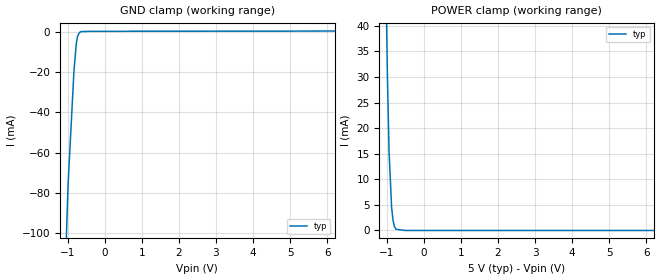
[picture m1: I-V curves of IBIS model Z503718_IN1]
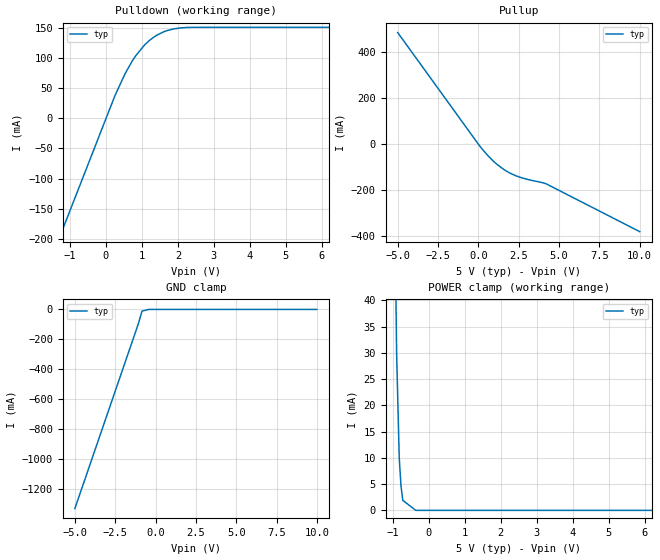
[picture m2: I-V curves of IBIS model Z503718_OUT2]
| YOU ARE ONLY AUTHORIZED TO USE THIS SOFTWARE
| ACCORDING TO LICENSOR'S LICENSE RESTRICTIONS.
[IBIS Ver] 3.1
[File Name] mc74ac10n_5.ibs
[File Rev] 2.0
[Source] Measured and created by ICX Technology
[Date] Friday 7/14/00 9:07:58 AM
[Copyright]
| (C) COPYRIGHT 1993-2000
| MENTOR GRAPHICS CORPORATION
| ICX STANDARD LIBRARY, ICX PROJECT MODELING,
| ICX CUSTOM MODELING, ICX VENDOR MODEL
| ALL RIGHTS RESERVED.
| THE FOLLOWING ARE TRADEMARKS OR SERVICE MARKS OF
| MENTOR GRAPHICS CORPORATION:ICX (R), ICX STANDARD
| LIBRARY(R), ICX PROJECT MODELING(R), ICX CUSTOM
| MODELING(R), qualityIBIS(TM), MODELVIEWER(TM),
| AND MODELEDITOR(TM)
| ALL COPIES OF SOFTWARE, INCLUDING BUT NOT LIMITED TO
| ANY MODIFICATIONS, ENHANCEMENTS OR DERIVATIVE WORKS,
| MUST CONTAIN ALL MENTOR GRAPHICS CORPORATION'S
| NOTICES AND LEGENDS, INCLUDING THOSE EMBEDDED IN
| SOFTWARE AND THOSE AFFIXED TO SOFTWARE MEDIUM
| AND CONTAINER, AS RECEIVED FROM MENTOR GRAPHICS
| CORPORATION.
|  ZAP Model Builder 2.7
[Component] MC74AC10N_5
[Manufacturer] OnSemiconductor
[Package]
| variable   typ   min   max
R_pkg  .21ohms NA NA
L_pkg  4.543nH NA NA
C_pkg  1.059pF NA NA
[Pin] signal_name  model_name  R_pin  L_pin C_pin
1 1A Z503718_IN1 .22 6.757n 1.432p
2 1B Z503718_IN1 .212 4.757n 1.142p
3 2A Z503718_IN1 .204 3.257n .852p
4 2B Z503718_IN1 .196 2.257n .562p
5 2C Z503718_IN1 .204 3.257n .852p
6 2Y Z503718_OUT2 .212 4.757n 1.142p
7 GND GND .22 6.757n 1.432p
8 3Y Z503718_OUT2 .22 6.757n 1.432p
9 3A Z503718_IN1 .212 4.757n 1.142p
10 3B Z503718_IN1 .204 3.257n .852p
11 3C Z503718_IN1 .196 2.257n .562p
12 1Y Z503718_OUT2 .204 3.257n .852p
13 1C Z503718_IN1 .212 4.757n 1.142p
14 VCC POWER .22 6.757n 1.432p
| Models and submodels in the file (2): Z503718_IN1 (Input), Z503718_OUT2 (Output)
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| (C) COPYRIGHT 1993-2000
| MENTOR GRAPHICS CORPORATION
| ICX STANDARD LIBRARY, ICX PROJECT MODELING,
| ICX CUSTOM MODELING, ICX VENDOR MODEL
| ALL RIGHTS RESERVED.
| THE FOLLOWING ARE TRADEMARKS OR SERVICE MARKS OF
| MENTOR GRAPHICS CORPORATION:ICX (R), ICX STANDARD
| LIBRARY(R), ICX PROJECT MODELING(R), ICX CUSTOM
| MODELING(R), qualityIBIS(TM), MODELVIEWER(TM),
| AND MODELEDITOR(TM)
| ALL COPIES OF SOFTWARE, INCLUDING BUT NOT LIMITED TO
| ANY MODIFICATIONS, ENHANCEMENTS OR DERIVATIVE WORKS,
| MUST CONTAIN ALL MENTOR GRAPHICS CORPORATION'S
| NOTICES AND LEGENDS, INCLUDING THOSE EMBEDDED IN
| SOFTWARE AND THOSE AFFIXED TO SOFTWARE MEDIUM
| AND CONTAINER, AS RECEIVED FROM MENTOR GRAPHICS
| CORPORATION.
| Model Application Version 1.89 2/18/99.
[Model] Z503718_IN1
Model_type Input
Vinl = 1.500V
Vinh = 3.500V
C_comp 4.000pF NA NA
| variable typ   min   max
[Voltage Range] 5.000V NA NA
[GND Clamp Reference] 0.000V NA NA
[POWER Clamp Reference] 5.000V NA NA
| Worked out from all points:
|   GND clamp passes 1 mA (typ) near -0.70 V on its own axis
|   POWER clamp passes 1 mA (typ) near -0.80 V on its own axis
[GND Clamp]
-5V       -2.614A    NA         NA
-1.05V    -111.9mA   NA         NA
-828.2mV  -19.59mA   NA         NA
-765.3mV  -5.948mA   NA         NA
-730mV    -2.247mA   NA         NA
-668.1mV  -220.5uA   NA         NA
-628.9mV  67.01uA    NA         NA
10V       585uA      NA         NA
[POWER Clamp]
-5V       3.99A      NA         NA
-1.27V    243.1mA    NA         NA
-1.116V   109.5mA    NA         NA
-1.035V   55.18mA    NA         NA
-982mV    30.07mA    NA         NA
-937mV    15.27mA    NA         NA
-869mV    4.5mA      NA         NA
-831mV    2mA        NA         NA
-794mV    783uA      NA         NA
-752mV    243.3uA    NA         NA
-501.3mV  0A         NA         NA
10V       0A         NA         NA
| (C) COPYRIGHT 1993-2000
| MENTOR GRAPHICS CORPORATION
| ICX STANDARD LIBRARY, ICX PROJECT MODELING,
| ICX CUSTOM MODELING, ICX VENDOR MODEL
| ALL RIGHTS RESERVED.
| THE FOLLOWING ARE TRADEMARKS OR SERVICE MARKS OF
| MENTOR GRAPHICS CORPORATION:ICX (R), ICX STANDARD
| LIBRARY(R), ICX PROJECT MODELING(R), ICX CUSTOM
| MODELING(R), qualityIBIS(TM), MODELVIEWER(TM),
| AND MODELEDITOR(TM)
| ALL COPIES OF SOFTWARE, INCLUDING BUT NOT LIMITED TO
| ANY MODIFICATIONS, ENHANCEMENTS OR DERIVATIVE WORKS,
| MUST CONTAIN ALL MENTOR GRAPHICS CORPORATION'S
| NOTICES AND LEGENDS, INCLUDING THOSE EMBEDDED IN
| SOFTWARE AND THOSE AFFIXED TO SOFTWARE MEDIUM
| AND CONTAINER, AS RECEIVED FROM MENTOR GRAPHICS
| CORPORATION.
| Model Application Version 1.89 2/18/99.
[Model] Z503718_OUT2
Model_type Output
Vref=0.000V
Rref=500.0ohms
Cref=50.00pF
Vmeas=2.500V
C_comp 8.000pF NA NA
| variable typ   min   max
[Voltage Range] 5.000V NA NA
[POWER Clamp Reference] 5.000V NA NA
[Pullup Reference] 5.000V NA NA
[Pulldown Reference] 0.000V NA NA
[GND Clamp Reference] 0.000V NA NA
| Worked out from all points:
|   slope of the pulldown table from 0 to 0.75 V, typ, clamps not added: 7.69 ohm
|   slope of the pullup table from 0 to 0.75 V, typ, clamps not added: 12.2 ohm
[GND Clamp]
-5V       -1.329A    NA         NA
-1.065V   -95.35mA   NA         NA
-839.6mV  -11.27mA   NA         NA
-419.8mV  0A         NA         NA
10V       0A         NA         NA
[Pulldown]
-5V       -766.1mA   NA         NA
245.1mV   37.2mA     NA         NA
527.4mV   73.89mA    NA         NA
722.7mV   94.73mA    NA         NA
830.1mV   104.5mA    NA         NA
1.074V    122.3mA    NA         NA
1.201V    129.4mA    NA         NA
1.413V    138.5mA    NA         NA
1.626V    144.7mA    NA         NA
1.885V    148.9mA    NA         NA
2.236V    151.4mA    NA         NA
10V       151.6mA    NA         NA
[Pullup]
-5V       482.9mA    NA         NA
35mV      -5.789mA   NA         NA
620mV     -54.68mA   NA         NA
1.143V    -89.63mA   NA         NA
1.787V    -121.6mA   NA         NA
2.29V     -139mA     NA         NA
4.189V    -174.5mA   NA         NA
10V       -382.9mA   NA         NA
[POWER Clamp]
-5V       3.394A     NA         NA
-1.01V    94.47mA    NA         NA
-892mV    29.72mA    NA         NA
-820mV    10.01mA    NA         NA
-771mV    4.605mA    NA         NA
-721mV    1.908mA    NA         NA
-360.5mV  0A         NA         NA
10V       0A         NA         NA
[Ramp]
| variable typ min max
dV/dt_r 2.950/323.6p NA NA
dV/dt_f 2.950/319.1p NA NA
R_load = 500.0Ohms
